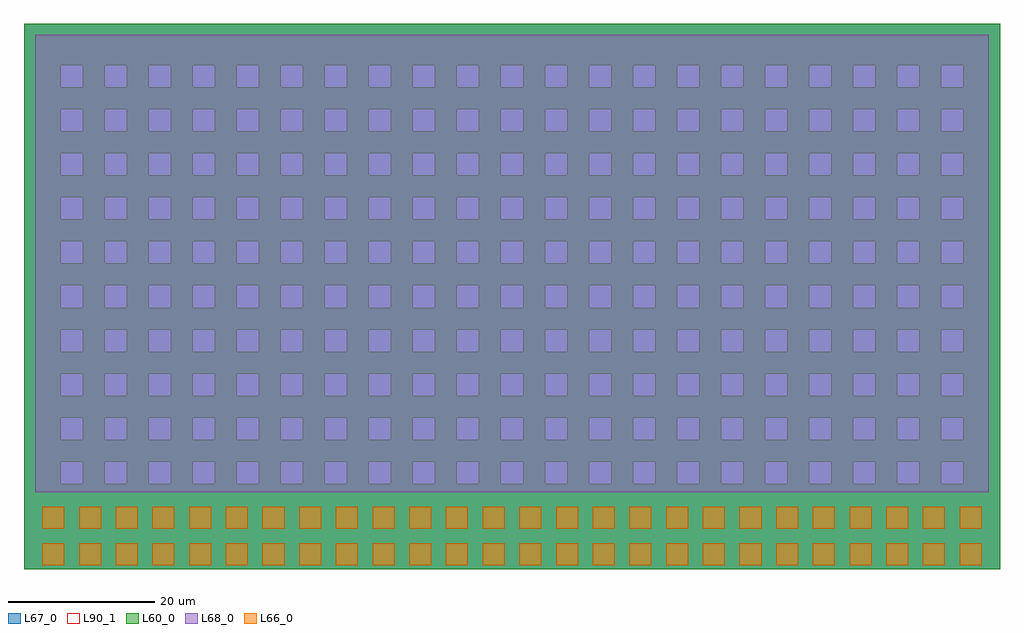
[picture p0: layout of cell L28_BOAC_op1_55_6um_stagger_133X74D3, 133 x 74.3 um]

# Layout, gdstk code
import gdstk
lib = gdstk.Library(unit=1e-6, precision=1e-09)
def R(c, l, rs):  # rectangles x0, y0, x1, y1
    for r in rs: c.add(gdstk.rectangle(r[:2], r[2:], *l))
def A(c, l, x, y, w, h, nx, ny, dx, dy):  # array of equal rectangles
    R(c, l, [(x+i*dx, y+j*dy, x+i*dx+w, y+j*dy+h) for i in range(nx) for j in range(ny)])
def P(c, l, *ps):  # polygons
    for p in ps: c.add(gdstk.Polygon(p, *l))
L60_0 = (60, 0)
L66_0 = (66, 0)
L67_0 = (67, 0)
L68_0 = (68, 0)
L90_1 = (90, 1)

al_m8_cdns_717751936820 = lib.new_cell('AL_M8_CDNS_717751936820')
R(al_m8_cdns_717751936820, L60_0, [(-66.35,-4.35,66.35,4.35)])
A(al_m8_cdns_717751936820, L66_0, -64, -4, 3, 3, 26, 2, 5, 5)
R(al_m8_cdns_717751936820, L67_0, [(-66.5,-4.5,66.5,4.5)])

l28_boac_op1_55_6um_stag = lib.new_cell('L28_BOAC_op1_55_6um_stagger_133X74D3')
P(l28_boac_op1_55_6um_stag, L60_0, [(66.5,11.65),(65,11.65),(65,14.65),(66.5,14.65),(66.5,17.65),(65,17.65),(65,20.65),(66.5,20.65),(66.5,23.65),(65,23.65),(65,26.65),(66.5,26.65),(66.5,29.65),(65,29.65),(65,32.65),(66.5,32.65),(66.5,35.65),(65,35.65),(65,37.15),(62,37.15),(62,11.65),(59,11.65),(59,14.65),(62,14.65),(62,17.65),(59,17.65),(59,20.65),(62,20.65),(62,23.65),(59,23.65),(59,26.65),(62,26.65),(62,29.65),(59,29.65),(59,32.65),(62,32.65),(62,35.65),(59,35.65),(59,37.15),(56,37.15),(56,11.65),(53,11.65),(53,14.65),(56,14.65),(56,17.65),(53,17.65),(53,20.65),(56,20.65),(56,23.65),(53,23.65),(53,26.65),(56,26.65),(56,29.65),(53,29.65),(53,32.65),(56,32.65),(56,35.65),(53,35.65),(53,37.15),(50,37.15),(50,11.65),(47,11.65),(47,14.65),(50,14.65),(50,17.65),(47,17.65),(47,20.65),(50,20.65),(50,23.65),(47,23.65),(47,26.65),(50,26.65),(50,29.65),(47,29.65),(47,32.65),(50,32.65),(50,35.65),(47,35.65),(47,37.15),(44,37.15),(44,11.65),(41,11.65),(41,14.65),(44,14.65),(44,17.65),(41,17.65),(41,20.65),(44,20.65),(44,23.65),(41,23.65),(41,26.65),(44,26.65),(44,29.65),(41,29.65),(41,32.65),(44,32.65),(44,35.65),(41,35.65),(41,37.15),(38,37.15),(38,11.65),(35,11.65),(35,14.65),(38,14.65),(38,17.65),(35,17.65),(35,20.65),(38,20.65),(38,23.65),(35,23.65),(35,26.65),(38,26.65),(38,29.65),(35,29.65),(35,32.65),(38,32.65),(38,35.65),(35,35.65),(35,37.15),(33.25,37.15),(33.25,0),(66.5,0)],
  [(33.25,37.15),(32,37.15),(32,11.65),(29,11.65),(29,14.65),(32,14.65),(32,17.65),(29,17.65),(29,20.65),(32,20.65),(32,23.65),(29,23.65),(29,26.65),(32,26.65),(32,29.65),(29,29.65),(29,32.65),(32,32.65),(32,35.65),(29,35.65),(29,37.15),(26,37.15),(26,11.65),(23,11.65),(23,14.65),(26,14.65),(26,17.65),(23,17.65),(23,20.65),(26,20.65),(26,23.65),(23,23.65),(23,26.65),(26,26.65),(26,29.65),(23,29.65),(23,32.65),(26,32.65),(26,35.65),(23,35.65),(23,37.15),(20,37.15),(20,11.65),(17,11.65),(17,14.65),(20,14.65),(20,17.65),(17,17.65),(17,20.65),(20,20.65),(20,23.65),(17,23.65),(17,26.65),(20,26.65),(20,29.65),(17,29.65),(17,32.65),(20,32.65),(20,35.65),(17,35.65),(17,37.15),(14,37.15),(14,11.65),(11,11.65),(11,14.65),(14,14.65),(14,17.65),(11,17.65),(11,20.65),(14,20.65),(14,23.65),(11,23.65),(11,26.65),(14,26.65),(14,29.65),(11,29.65),(11,32.65),(14,32.65),(14,35.65),(11,35.65),(11,37.15),(8,37.15),(8,11.65),(5,11.65),(5,14.65),(8,14.65),(8,17.65),(5,17.65),(5,20.65),(8,20.65),(8,23.65),(5,23.65),(5,26.65),(8,26.65),(8,29.65),(5,29.65),(5,32.65),(8,32.65),(8,35.65),(5,35.65),(5,37.15),(0,37.15),(0,0),(33.25,0)],
  [(66.5,41.65),(65,41.65),(65,44.65),(66.5,44.65),(66.5,47.65),(65,47.65),(65,50.65),(66.5,50.65),(66.5,53.65),(65,53.65),(65,56.65),(66.5,56.65),(66.5,59.65),(65,59.65),(65,62.65),(66.5,62.65),(66.5,65.65),(65,65.65),(65,68.65),(66.5,68.65),(66.5,74.3),(62,74.3),(62,41.65),(59,41.65),(59,44.65),(62,44.65),(62,47.65),(59,47.65),(59,50.65),(62,50.65),(62,53.65),(59,53.65),(59,56.65),(62,56.65),(62,59.65),(59,59.65),(59,62.65),(62,62.65),(62,65.65),(59,65.65),(59,68.65),(62,68.65),(62,74.3),(56,74.3),(56,41.65),(53,41.65),(53,44.65),(56,44.65),(56,47.65),(53,47.65),(53,50.65),(56,50.65),(56,53.65),(53,53.65),(53,56.65),(56,56.65),(56,59.65),(53,59.65),(53,62.65),(56,62.65),(56,65.65),(53,65.65),(53,68.65),(56,68.65),(56,74.3),(50,74.3),(50,41.65),(47,41.65),(47,44.65),(50,44.65),(50,47.65),(47,47.65),(47,50.65),(50,50.65),(50,53.65),(47,53.65),(47,56.65),(50,56.65),(50,59.65),(47,59.65),(47,62.65),(50,62.65),(50,65.65),(47,65.65),(47,68.65),(50,68.65),(50,74.3),(44,74.3),(44,41.65),(41,41.65),(41,44.65),(44,44.65),(44,47.65),(41,47.65),(41,50.65),(44,50.65),(44,53.65),(41,53.65),(41,56.65),(44,56.65),(44,59.65),(41,59.65),(41,62.65),(44,62.65),(44,65.65),(41,65.65),(41,68.65),(44,68.65),(44,74.3),(38,74.3),(38,41.65),(35,41.65),(35,44.65),(38,44.65),(38,47.65),(35,47.65),(35,50.65),(38,50.65),(38,53.65),(35,53.65),(35,56.65),(38,56.65),(38,59.65),(35,59.65),(35,62.65),(38,62.65),(38,65.65),(35,65.65),(35,68.65),(38,68.65),(38,74.3),(33.25,74.3),(33.25,37.15),(35,37.15),(35,38.65),(38,38.65),(38,37.15),(41,37.15),(41,38.65),(44,38.65),(44,37.15),(47,37.15),(47,38.65),(50,38.65),(50,37.15),(53,37.15),(53,38.65),(56,38.65),(56,37.15),(59,37.15),(59,38.65),(62,38.65),(62,37.15),(65,37.15),(65,38.65),(66.5,38.65)],
  [(33.25,74.3),(32,74.3),(32,41.65),(29,41.65),(29,44.65),(32,44.65),(32,47.65),(29,47.65),(29,50.65),(32,50.65),(32,53.65),(29,53.65),(29,56.65),(32,56.65),(32,59.65),(29,59.65),(29,62.65),(32,62.65),(32,65.65),(29,65.65),(29,68.65),(32,68.65),(32,74.3),(26,74.3),(26,41.65),(23,41.65),(23,44.65),(26,44.65),(26,47.65),(23,47.65),(23,50.65),(26,50.65),(26,53.65),(23,53.65),(23,56.65),(26,56.65),(26,59.65),(23,59.65),(23,62.65),(26,62.65),(26,65.65),(23,65.65),(23,68.65),(26,68.65),(26,74.3),(20,74.3),(20,41.65),(17,41.65),(17,44.65),(20,44.65),(20,47.65),(17,47.65),(17,50.65),(20,50.65),(20,53.65),(17,53.65),(17,56.65),(20,56.65),(20,59.65),(17,59.65),(17,62.65),(20,62.65),(20,65.65),(17,65.65),(17,68.65),(20,68.65),(20,74.3),(14,74.3),(14,41.65),(11,41.65),(11,44.65),(14,44.65),(14,47.65),(11,47.65),(11,50.65),(14,50.65),(14,53.65),(11,53.65),(11,56.65),(14,56.65),(14,59.65),(11,59.65),(11,62.65),(14,62.65),(14,65.65),(11,65.65),(11,68.65),(14,68.65),(14,74.3),(8,74.3),(8,41.65),(5,41.65),(5,44.65),(8,44.65),(8,47.65),(5,47.65),(5,50.65),(8,50.65),(8,53.65),(5,53.65),(5,56.65),(8,56.65),(8,59.65),(5,59.65),(5,62.65),(8,62.65),(8,65.65),(5,65.65),(5,68.65),(8,68.65),(8,74.3),(0,74.3),(0,37.15),(5,37.15),(5,38.65),(8,38.65),(8,37.15),(11,37.15),(11,38.65),(14,38.65),(14,37.15),(17,37.15),(17,38.65),(20,38.65),(20,37.15),(23,37.15),(23,38.65),(26,38.65),(26,37.15),(29,37.15),(29,38.65),(32,38.65),(32,37.15),(33.25,37.15)],
  [(133,37.15),(128,37.15),(128,11.65),(125,11.65),(125,14.65),(128,14.65),(128,17.65),(125,17.65),(125,20.65),(128,20.65),(128,23.65),(125,23.65),(125,26.65),(128,26.65),(128,29.65),(125,29.65),(125,32.65),(128,32.65),(128,35.65),(125,35.65),(125,37.15),(122,37.15),(122,11.65),(119,11.65),(119,14.65),(122,14.65),(122,17.65),(119,17.65),(119,20.65),(122,20.65),(122,23.65),(119,23.65),(119,26.65),(122,26.65),(122,29.65),(119,29.65),(119,32.65),(122,32.65),(122,35.65),(119,35.65),(119,37.15),(116,37.15),(116,11.65),(113,11.65),(113,14.65),(116,14.65),(116,17.65),(113,17.65),(113,20.65),(116,20.65),(116,23.65),(113,23.65),(113,26.65),(116,26.65),(116,29.65),(113,29.65),(113,32.65),(116,32.65),(116,35.65),(113,35.65),(113,37.15),(110,37.15),(110,11.65),(107,11.65),(107,14.65),(110,14.65),(110,17.65),(107,17.65),(107,20.65),(110,20.65),(110,23.65),(107,23.65),(107,26.65),(110,26.65),(110,29.65),(107,29.65),(107,32.65),(110,32.65),(110,35.65),(107,35.65),(107,37.15),(104,37.15),(104,11.65),(101,11.65),(101,14.65),(104,14.65),(104,17.65),(101,17.65),(101,20.65),(104,20.65),(104,23.65),(101,23.65),(101,26.65),(104,26.65),(104,29.65),(101,29.65),(101,32.65),(104,32.65),(104,35.65),(101,35.65),(101,37.15),(99.75,37.15),(99.75,0),(133,0)],
  [(99.75,37.15),(98,37.15),(98,11.65),(95,11.65),(95,14.65),(98,14.65),(98,17.65),(95,17.65),(95,20.65),(98,20.65),(98,23.65),(95,23.65),(95,26.65),(98,26.65),(98,29.65),(95,29.65),(95,32.65),(98,32.65),(98,35.65),(95,35.65),(95,37.15),(92,37.15),(92,11.65),(89,11.65),(89,14.65),(92,14.65),(92,17.65),(89,17.65),(89,20.65),(92,20.65),(92,23.65),(89,23.65),(89,26.65),(92,26.65),(92,29.65),(89,29.65),(89,32.65),(92,32.65),(92,35.65),(89,35.65),(89,37.15),(86,37.15),(86,11.65),(83,11.65),(83,14.65),(86,14.65),(86,17.65),(83,17.65),(83,20.65),(86,20.65),(86,23.65),(83,23.65),(83,26.65),(86,26.65),(86,29.65),(83,29.65),(83,32.65),(86,32.65),(86,35.65),(83,35.65),(83,37.15),(80,37.15),(80,11.65),(77,11.65),(77,14.65),(80,14.65),(80,17.65),(77,17.65),(77,20.65),(80,20.65),(80,23.65),(77,23.65),(77,26.65),(80,26.65),(80,29.65),(77,29.65),(77,32.65),(80,32.65),(80,35.65),(77,35.65),(77,37.15),(74,37.15),(74,11.65),(71,11.65),(71,14.65),(74,14.65),(74,17.65),(71,17.65),(71,20.65),(74,20.65),(74,23.65),(71,23.65),(71,26.65),(74,26.65),(74,29.65),(71,29.65),(71,32.65),(74,32.65),(74,35.65),(71,35.65),(71,37.15),(68,37.15),(68,35.65),(66.5,35.65),(66.5,32.65),(68,32.65),(68,29.65),(66.5,29.65),(66.5,26.65),(68,26.65),(68,23.65),(66.5,23.65),(66.5,20.65),(68,20.65),(68,17.65),(66.5,17.65),(66.5,14.65),(68,14.65),(68,11.65),(66.5,11.65),(66.5,0),(99.75,0)],
  [(133,74.3),(128,74.3),(128,41.65),(125,41.65),(125,44.65),(128,44.65),(128,47.65),(125,47.65),(125,50.65),(128,50.65),(128,53.65),(125,53.65),(125,56.65),(128,56.65),(128,59.65),(125,59.65),(125,62.65),(128,62.65),(128,65.65),(125,65.65),(125,68.65),(128,68.65),(128,74.3),(122,74.3),(122,41.65),(119,41.65),(119,44.65),(122,44.65),(122,47.65),(119,47.65),(119,50.65),(122,50.65),(122,53.65),(119,53.65),(119,56.65),(122,56.65),(122,59.65),(119,59.65),(119,62.65),(122,62.65),(122,65.65),(119,65.65),(119,68.65),(122,68.65),(122,74.3),(116,74.3),(116,41.65),(113,41.65),(113,44.65),(116,44.65),(116,47.65),(113,47.65),(113,50.65),(116,50.65),(116,53.65),(113,53.65),(113,56.65),(116,56.65),(116,59.65),(113,59.65),(113,62.65),(116,62.65),(116,65.65),(113,65.65),(113,68.65),(116,68.65),(116,74.3),(110,74.3),(110,41.65),(107,41.65),(107,44.65),(110,44.65),(110,47.65),(107,47.65),(107,50.65),(110,50.65),(110,53.65),(107,53.65),(107,56.65),(110,56.65),(110,59.65),(107,59.65),(107,62.65),(110,62.65),(110,65.65),(107,65.65),(107,68.65),(110,68.65),(110,74.3),(104,74.3),(104,41.65),(101,41.65),(101,44.65),(104,44.65),(104,47.65),(101,47.65),(101,50.65),(104,50.65),(104,53.65),(101,53.65),(101,56.65),(104,56.65),(104,59.65),(101,59.65),(101,62.65),(104,62.65),(104,65.65),(101,65.65),(101,68.65),(104,68.65),(104,74.3),(99.75,74.3),(99.75,37.15),(101,37.15),(101,38.65),(104,38.65),(104,37.15),(107,37.15),(107,38.65),(110,38.65),(110,37.15),(113,37.15),(113,38.65),(116,38.65),(116,37.15),(119,37.15),(119,38.65),(122,38.65),(122,37.15),(125,37.15),(125,38.65),(128,38.65),(128,37.15),(133,37.15)],
  [(99.75,74.3),(98,74.3),(98,41.65),(95,41.65),(95,44.65),(98,44.65),(98,47.65),(95,47.65),(95,50.65),(98,50.65),(98,53.65),(95,53.65),(95,56.65),(98,56.65),(98,59.65),(95,59.65),(95,62.65),(98,62.65),(98,65.65),(95,65.65),(95,68.65),(98,68.65),(98,74.3),(92,74.3),(92,41.65),(89,41.65),(89,44.65),(92,44.65),(92,47.65),(89,47.65),(89,50.65),(92,50.65),(92,53.65),(89,53.65),(89,56.65),(92,56.65),(92,59.65),(89,59.65),(89,62.65),(92,62.65),(92,65.65),(89,65.65),(89,68.65),(92,68.65),(92,74.3),(86,74.3),(86,41.65),(83,41.65),(83,44.65),(86,44.65),(86,47.65),(83,47.65),(83,50.65),(86,50.65),(86,53.65),(83,53.65),(83,56.65),(86,56.65),(86,59.65),(83,59.65),(83,62.65),(86,62.65),(86,65.65),(83,65.65),(83,68.65),(86,68.65),(86,74.3),(80,74.3),(80,41.65),(77,41.65),(77,44.65),(80,44.65),(80,47.65),(77,47.65),(77,50.65),(80,50.65),(80,53.65),(77,53.65),(77,56.65),(80,56.65),(80,59.65),(77,59.65),(77,62.65),(80,62.65),(80,65.65),(77,65.65),(77,68.65),(80,68.65),(80,74.3),(74,74.3),(74,41.65),(71,41.65),(71,44.65),(74,44.65),(74,47.65),(71,47.65),(71,50.65),(74,50.65),(74,53.65),(71,53.65),(71,56.65),(74,56.65),(74,59.65),(71,59.65),(71,62.65),(74,62.65),(74,65.65),(71,65.65),(71,68.65),(74,68.65),(74,74.3),(66.5,74.3),(66.5,68.65),(68,68.65),(68,65.65),(66.5,65.65),(66.5,62.65),(68,62.65),(68,59.65),(66.5,59.65),(66.5,56.65),(68,56.65),(68,53.65),(66.5,53.65),(66.5,50.65),(68,50.65),(68,47.65),(66.5,47.65),(66.5,44.65),(68,44.65),(68,41.65),(66.5,41.65),(66.5,38.65),(68,38.65),(68,37.15),(71,37.15),(71,38.65),(74,38.65),(74,37.15),(77,37.15),(77,38.65),(80,38.65),(80,37.15),(83,37.15),(83,38.65),(86,38.65),(86,37.15),(89,37.15),(89,38.65),(92,38.65),(92,37.15),(95,37.15),(95,38.65),(98,38.65),(98,37.15),(99.75,37.15)])
R(l28_boac_op1_55_6um_stag, L67_0, [(0,0,133,74.3), (0,0,133,74.3), (0,0,133,74.3)])
R(l28_boac_op1_55_6um_stag, L68_0, [(1.5,10.5,131.5,72.8)])
R(l28_boac_op1_55_6um_stag, L90_1, [(0,0,133,74.3)])
l28_boac_op1_55_6um_stag.add(gdstk.Reference(al_m8_cdns_717751936820, (66.5,4.5)))

lib.write_gds('L28_BOAC_op1_55_6um_stagger_133X74D3.gds')
